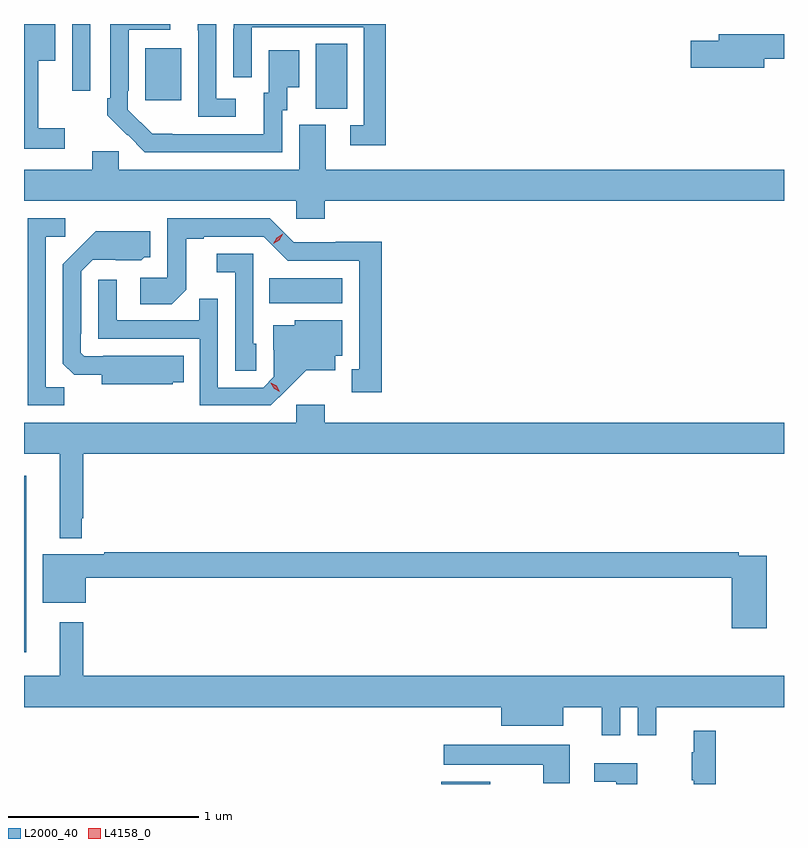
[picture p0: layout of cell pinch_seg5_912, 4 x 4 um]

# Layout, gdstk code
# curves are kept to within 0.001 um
import gdstk
lib = gdstk.Library(unit=1e-6, precision=1e-09)
def R(c, l, rs):  # rectangles x0, y0, x1, y1
    for r in rs: c.add(gdstk.rectangle(r[:2], r[2:], *l))
def P(c, l, *ps):  # polygons
    for p in ps: c.add(gdstk.Polygon(p, *l))
L2000_40 = (2000, 40)
L4158_0 = (4158, 0)

pinch_seg5_912 = lib.new_cell('pinch_seg5_912')
R(pinch_seg5_912, L2000_40, [(685.058,909.635,685.315,909.646), (682.862,910.329,682.873,911.257), (684.154,912.164,684.538,912.298), (684.398,913.189,684.562,913.532), (683.501,913.233,683.689,913.507), (683.115,913.284,683.211,913.635)])
P(pinch_seg5_912, L2000_40, [(684.767,913.635),(683.965,913.635),(683.965,913.61),(683.964,913.61),(683.964,913.356),(684.06,913.356),(684.06,913.617),(684.651,913.617),(684.651,913.101),(684.579,913.101),(684.579,912.996),(684.767,912.996)],
  [(683.977,913.242),(683.874,913.242),(683.874,913.635),(683.777,913.635),(683.777,913.603),(683.778,913.603),(683.778,913.146),(683.977,913.146)],
  [(684.222,913.182),(684.247,913.182),(684.247,913.301),(684.31,913.301),(684.31,913.498),(684.149,913.498),(684.149,913.272),(684.125,913.272),(684.125,913.056),(683.538,913.057),(683.409,913.185),(683.409,913.285),(683.412,913.285),(683.412,913.605),(683.632,913.605),(683.632,913.635),(683.316,913.635),(683.316,913.243),(683.301,913.243),(683.301,913.155),(683.498,912.96),(684.222,912.96)],
  [(683.077,913.087),(682.937,913.087),(682.937,913.442),(683.026,913.442),(683.026,913.635),(682.862,913.635),(682.862,912.978),(683.077,912.978)],
  [(686.758,913.453),(686.862,913.453),(686.862,913.582),(686.519,913.582),(686.519,913.548),(686.37,913.548),(686.37,913.406),(686.758,913.406)],
  [(684.446,912.704),(686.862,912.704),(686.862,912.868),(684.451,912.868),(684.451,913.104),(684.311,913.104),(684.311,912.868),(683.361,912.868),(683.361,912.966),(683.222,912.966),(683.222,912.868),(682.862,912.868),(682.862,912.704),(684.294,912.704),(684.294,912.611),(684.446,912.611)],
  [(683.073,911.723),(682.977,911.723),(682.977,912.516),(683.08,912.516),(683.08,912.612),(682.881,912.612),(682.881,911.628),(683.073,911.628)],
  [(684.745,912.488),(684.504,912.488),(684.504,912.486),(684.282,912.486),(684.156,912.612),(683.616,912.612),(683.616,912.3),(683.475,912.3),(683.475,912.16),(683.639,912.16),(683.715,912.236),(683.715,912.504),(683.809,912.504),(683.809,912.516),(684.123,912.516),(684.249,912.39),(684.626,912.39),(684.626,911.817),(684.587,911.817),(684.587,911.697),(684.745,911.697)],
  [(683.646,911.75),(683.702,911.75),(683.702,911.89),(683.278,911.89),(683.278,911.886),(683.178,911.886),(683.16,911.904),(683.16,912.004),(683.163,912.004),(683.163,912.333),(683.223,912.393),(683.48,912.392),(683.496,912.408),(683.527,912.408),(683.527,912.544),(683.239,912.544),(683.067,912.37),(683.067,911.848),(683.126,911.789),(683.27,911.789),(683.27,911.738),(683.646,911.738)],
  [(684.084,911.952),(684.069,911.952),(684.069,912.426),(683.877,912.426),(683.877,912.329),(683.973,912.329),(683.973,911.809),(684.084,911.809)],
  [(684.244,911.711),(684.347,911.813),(684.499,911.813),(684.499,911.889),(684.538,911.889),(684.538,912.076),(684.288,912.076),(684.288,912.049),(684.173,912.049),(684.173,911.92),(684.177,911.92),(684.177,911.778),(684.12,911.721),(683.883,911.721),(683.883,912.188),(683.785,912.188),(683.785,912.075),(683.349,912.075),(683.349,912.289),(683.253,912.289),(683.253,911.979),(683.787,911.979),(683.787,911.628),(684.16,911.628)],
  [(683.166,911.035),(683.173,911.035),(683.173,911.372),(686.862,911.372),(686.862,911.536),(684.446,911.536),(684.446,911.632),(684.294,911.632),(684.294,911.536),(682.862,911.536),(682.862,911.372),(683.051,911.372),(683.051,910.928),(683.166,910.928)],
  [(686.771,910.836),(686.624,910.836),(686.624,910.856),(683.284,910.856),(683.284,910.843),(682.961,910.843),(682.961,910.589),(683.188,910.589),(683.188,910.72),(686.588,910.72),(686.588,910.455),(686.771,910.455)],
  [(686.001,910.04),(686.091,910.04),(686.091,909.891),(686.189,909.891),(686.189,910.04),(686.862,910.04),(686.862,910.204),(683.173,910.204),(683.173,910.486),(683.051,910.486),(683.051,910.204),(682.862,910.204),(682.862,910.04),(685.373,910.04),(685.373,909.941),(685.699,909.941),(685.699,910.04),(685.904,910.04),(685.904,909.891),(686.001,909.891)],
  [(686.504,909.916),(686.387,909.916),(686.387,909.803),(686.376,909.803),(686.376,909.655),(686.388,909.655),(686.388,909.635),(686.504,909.635)],
  [(685.735,909.841),(685.071,909.841),(685.071,909.737),(685.595,909.737),(685.595,909.639),(685.735,909.639)],
  [(686.089,909.745),(685.863,909.745),(685.863,909.648),(685.98,909.648),(685.98,909.635),(686.089,909.635)])
P(pinch_seg5_912, L4158_0, [(684.174,912.478),(684.174,912.479),(684.192,912.511),(684.223,912.53),(684.224,912.53),(684.224,912.529),(684.206,912.497),(684.174,912.478)],
  [(684.208,911.7),(684.178,911.716),(684.161,911.745),(684.161,911.746),(684.161,911.746),(684.192,911.73),(684.209,911.7),(684.209,911.7)])

lib.write_gds('pinch_seg5_912.gds')
